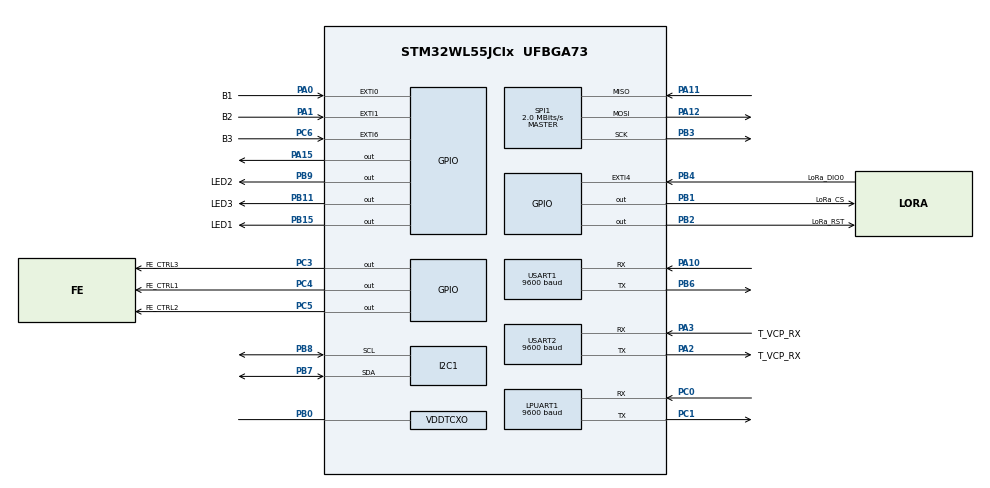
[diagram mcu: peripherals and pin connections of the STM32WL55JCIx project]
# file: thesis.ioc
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FATFS._FS_REENTRANT=0
FATFS._MAX_SS=4096
FATFS._USE_LFN=1
FREERTOS.HEAP_NUMBER=4
FREERTOS.Tasks01=PM,0,128,PM_Task,Default,NULL,Dynamic,NULL,NULL;CO,0,128,CO_Task,Default,NULL,Dynamic,NULL,NULL;GPS,0,128,GPS_Task,Default,NULL,Dynamic,NULL,NULL;SO,0,128,SO_Task,Default,NULL,Dynamic,NULL,NULL;COLLATE,-1,128,COLLATE_Task,Default,NULL,Dynamic,NULL,NULL;LORA,-1,128,LORA_Task,Default,NULL,Dynamic,NULL,NULL;SD,0,128,SD_Task,Default,NULL,Dynamic,NULL,NULL
FREERTOS.configENABLE_BACKWARD_COMPATIBILITY=0
FREERTOS.configTOTAL_HEAP_SIZE=6144
FREERTOS.configUSE_NEWLIB_REENTRANT=1
I2C1.Speed=100
LPUART1.BaudRate=9600
Mcu.Family=STM32WL
Mcu.Name=STM32WL55JCIx
Mcu.Package=UFBGA73
NVIC.LPUART1_IRQn=true\:5\:0\:false\:false\:true\:true\:true\:true\:true
NVIC.PriorityGroup=NVIC_PRIORITYGROUP_4
NVIC.SPI1_IRQn=true\:5\:0\:false\:false\:true\:true\:true\:true\:true
NVIC.TIM16_IRQn=true\:5\:0\:false\:false\:true\:true\:true\:true\:true
NVIC.TIM1_UP_IRQn=true\:15\:0\:false\:false\:true\:false\:false\:true\:true
NVIC.TimeBase=TIM1_UP_IRQn
NVIC.TimeBaseIP=TIM1
NVIC.USART1_IRQn=true\:5\:0\:false\:false\:true\:true\:true\:true\:true
OSC_IN.Mode=HSE-TCXO
OSC_IN.Signal=RCC_OSC_IN
PA0.GPIO_Label=B1
PA0.GPIO_ModeDefaultEXTI=GPIO_MODE_IT_FALLING
PA0.GPIO_PuPd=GPIO_PULLUP
PA0.Signal=GPXTI0
PA1.GPIO_Label=B2
PA1.GPIO_ModeDefaultEXTI=GPIO_MODE_IT_FALLING
PA1.GPIO_PuPd=GPIO_PULLUP
PA1.Signal=GPXTI1
PA10.Mode=Asynchronous
PA10.Signal=USART1_RX
PA11.Mode=Full_Duplex_Master
PA11.Signal=SPI1_MISO
PA12.Mode=Full_Duplex_Master
PA12.Signal=SPI1_MOSI
PA13.Mode=Serial_Wire
PA13.Signal=DEBUG_JTMS-SWDIO
PA14.Mode=Serial_Wire
PA14.Signal=DEBUG_JTCK-SWCLK
PA15.Signal=GPIO_Output
PA2.GPIO_Label=T_VCP_RX
PA2.Mode=Asynchronous
PA2.Signal=USART2_TX
PA3.GPIO_Label=T_VCP_RX
PA3.Mode=Asynchronous
PA3.Signal=USART2_RX
PB0-VDD_TCXO.Mode=HSE-TCXO
PB0-VDD_TCXO.Signal=VDDTCXO
PB1.GPIO_Label=LoRa_CS
PB1.PinState=GPIO_PIN_SET
PB1.Signal=GPIO_Output
PB11.GPIO_Label=LED3
PB11.GPIO_Speed=GPIO_SPEED_FREQ_HIGH
PB11.Signal=GPIO_Output
PB15.GPIO_Label=LED1
PB15.GPIO_Speed=GPIO_SPEED_FREQ_HIGH
PB15.Signal=GPIO_Output
PB2.GPIO_Label=LoRa_RST
PB2.PinState=GPIO_PIN_SET
PB2.Signal=GPIO_Output
PB3.Mode=Full_Duplex_Master
PB3.Signal=SPI1_SCK
PB4.GPIO_Label=LoRa_DIO0
PB4.Signal=GPXTI4
PB6.Mode=Asynchronous
PB6.Signal=USART1_TX
PB7.Mode=I2C
PB7.Signal=I2C1_SDA
PB8.Mode=I2C
PB8.Signal=I2C1_SCL
PB9.GPIO_FM9=__NULL
PB9.GPIO_Label=LED2
PB9.GPIO_Speed=GPIO_SPEED_FREQ_HIGH
PB9.Signal=GPIO_Output
PC0.Mode=Asynchronous
PC0.Signal=LPUART1_RX
PC1.Mode=Asynchronous
PC1.Signal=LPUART1_TX
PC14-OSC32_IN.Mode=LSE-External-Oscillator
PC14-OSC32_IN.Signal=RCC_OSC32_IN
PC15-OSC32_OUT.Mode=LSE-External-Oscillator
PC15-OSC32_OUT.Signal=RCC_OSC32_OUT
PC3.GPIO_Label=FE_CTRL3
PC3.GPIO_Speed=GPIO_SPEED_FREQ_VERY_HIGH
PC3.Signal=GPIO_Output
PC4.GPIO_Label=FE_CTRL1
PC4.GPIO_Speed=GPIO_SPEED_FREQ_VERY_HIGH
PC4.Signal=GPIO_Output
PC5.GPIO_Label=FE_CTRL2
PC5.GPIO_Speed=GPIO_SPEED_FREQ_VERY_HIGH
PC5.Signal=GPIO_Output
PC6.GPIO_Label=B3
PC6.GPIO_ModeDefaultEXTI=GPIO_MODE_IT_FALLING
PC6.GPIO_PuPd=GPIO_PULLUP
PC6.Signal=GPXTI6
ProjectManager.HeapSize=0x200
ProjectManager.StackSize=0x400
ProjectManager.TargetToolchain=STM32CubeIDE
RCC.APB2Freq_Value=4000000
RCC.APB2TimFreq_Value=4000000
RCC.HSE_VALUE=32000000
RCC.HSI_VALUE=16000000
RCC.LSE_VALUE=32768
RCC.VCOOutputFreq_Value=32000000
SPI1.BaudRatePrescaler=SPI_BAUDRATEPRESCALER_2
SPI1.CalculateBaudRate=2.0 MBits/s
SPI1.DataSize=SPI_DATASIZE_8BIT
SPI1.Direction=SPI_DIRECTION_2LINES
SPI1.Mode=SPI_MODE_MASTER
SPI1.NSSPMode=SPI_NSS_PULSE_ENABLE
SPI1.VirtualType=VM_MASTER
TIM16.Period=10000
TIM16.Prescaler=399
USART1.BaudRate=9600
USART1.VirtualMode-Asynchronous=VM_ASYNC
USART2.BaudRate=9600
USART2.VirtualMode-Asynchronous=VM_ASYNC
VP_FATFS_VS_Generic.Mode=User_defined
VP_FREERTOS_VS_CMSIS_V1.Mode=CMSIS_V1
VP_SYS_VS_tim1.Mode=TIM1
VP_TIM16_VS_ClockSourceINT.Mode=Enable_Timer
board=NUCLEO-WL55JC2

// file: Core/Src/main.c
/* USER CODE BEGIN Header */
/**
  ******************************************************************************
  * @file           : main.c
  * @brief          : Main program body
  ******************************************************************************
  * @attention
  *
  * Copyright (c) 2023 STMicroelectronics.
  * All rights reserved.
  *
  * This software is licensed under terms that can be found in the LICENSE file
  * in the root directory of this software component.
  * If no LICENSE file comes with this software, it is provided AS-IS.
  *
  ******************************************************************************
  */
/* USER CODE END Header */
#include "main.h"
#include "cmsis_os.h"
#include "app_fatfs.h"
#include "i2c.h"
#include "usart.h"
#include "spi.h"
#include "tim.h"
#include "gpio.h"

void SystemClock_Config(void);
void MX_FREERTOS_Init(void);

int main(void)
{

  /* MCU Configuration--------------------------------------------------------*/

  /* Reset of all peripherals, Initializes the Flash interface and the Systick. */
  HAL_Init();

  /* Configure the system clock */
  SystemClock_Config();

  /* Initialize all configured peripherals */
  MX_GPIO_Init();
  MX_TIM16_Init();
  MX_LPUART1_UART_Init();
  MX_I2C1_Init();
  MX_SPI1_Init();
  MX_FATFS_Init();
  MX_USART1_UART_Init();
  MX_USART2_UART_Init();
  /* USER CODE BEGIN 2 */
  /* if (HAL_TIM_Base_Start_IT(&htim16) != HAL_OK)
    {
      Error_Handler();
    }
  */
  /* USER CODE END 2 */

  /* Call init function for freertos objects (in freertos.c) */
  MX_FREERTOS_Init();

  /* Start scheduler */
  osKernelStart();

  /* We should never get here as control is now taken by the scheduler */
  /* Infinite loop */
  while (1)
  {

  }
}

void SystemClock_Config(void)
{
  RCC_OscInitTypeDef RCC_OscInitStruct = {0};
  RCC_ClkInitTypeDef RCC_ClkInitStruct = {0};

  /** Configure LSE Drive Capability
  */
  HAL_PWR_EnableBkUpAccess();
  __HAL_RCC_LSEDRIVE_CONFIG(RCC_LSEDRIVE_LOW);

  /** Configure the main internal regulator output voltage
  */
  __HAL_PWR_VOLTAGESCALING_CONFIG(PWR_REGULATOR_VOLTAGE_SCALE2);

  /** Initializes the CPU, AHB and APB buses clocks
  */
  RCC_OscInitStruct.OscillatorType = RCC_OSCILLATORTYPE_LSE|RCC_OSCILLATORTYPE_MSI;
  RCC_OscInitStruct.LSEState = RCC_LSE_ON;
  RCC_OscInitStruct.MSIState = RCC_MSI_ON;
  RCC_OscInitStruct.MSICalibrationValue = RCC_MSICALIBRATION_DEFAULT;
  RCC_OscInitStruct.MSIClockRange = RCC_MSIRANGE_6;
  RCC_OscInitStruct.PLL.PLLState = RCC_PLL_NONE;
  if (HAL_RCC_OscConfig(&RCC_OscInitStruct) != HAL_OK)
  {
    Error_Handler();
  }

  /** Configure the SYSCLKSource, HCLK, PCLK1 and PCLK2 clocks dividers
  */
  RCC_ClkInitStruct.ClockType = RCC_CLOCKTYPE_HCLK3|RCC_CLOCKTYPE_HCLK
                              |RCC_CLOCKTYPE_SYSCLK|RCC_CLOCKTYPE_PCLK1
                              |RCC_CLOCKTYPE_PCLK2;
  RCC_ClkInitStruct.SYSCLKSource = RCC_SYSCLKSOURCE_MSI;
  RCC_ClkInitStruct.AHBCLKDivider = RCC_SYSCLK_DIV1;
  RCC_ClkInitStruct.APB1CLKDivider = RCC_HCLK_DIV1;
  RCC_ClkInitStruct.APB2CLKDivider = RCC_HCLK_DIV1;
  RCC_ClkInitStruct.AHBCLK3Divider = RCC_SYSCLK_DIV1;

  if (HAL_RCC_ClockConfig(&RCC_ClkInitStruct, FLASH_LATENCY_0) != HAL_OK)
  {
    Error_Handler();
  }
}

/* USER CODE BEGIN 4 */

#include <stdio.h>
#include <string.h>
#ifdef __GNUC__
  /* With GCC, small printf (option LD Linker->Libraries->Small printf
     set to 'Yes') calls __io_putchar() */
int __io_putchar(int ch)
#else
int fputc(int ch, FILE *f)
#endif /* __GNUC__ */
{
  /* Place your implementation of fputc here */
  /* e.g. write a character to the UART2 and Loop until the end of transmission */
  HAL_UART_Transmit(&huart2, (uint8_t *)&ch, 1, HAL_MAX_DELAY);
  return ch;
}
/* USER CODE END 4 */

void HAL_TIM_PeriodElapsedCallback(TIM_HandleTypeDef *htim)
{
  if (htim->Instance == TIM1) {
    HAL_IncTick();
  }
}

void Error_Handler(void)
{
  __disable_irq();
  while (1)
  {
  }
}

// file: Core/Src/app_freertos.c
/* USER CODE BEGIN Header */
/**
 ******************************************************************************
 * File Name          : app_freertos.c
 * Description        : Code for freertos applications
 ******************************************************************************
 * @attention
 *
 * Copyright (c) 2023 STMicroelectronics.
 * All rights reserved.
 *
 * This software is licensed under terms that can be found in the LICENSE file
 * in the root directory of this software component.
 * If no LICENSE file comes with this software, it is provided AS-IS.
 *
 ******************************************************************************
 */
/* USER CODE END Header */

#include "FreeRTOS.h"
#include "task.h"
#include "main.h"
#include "cmsis_os.h"

/* USER CODE BEGIN Includes */
#include <stdio.h>
#include "../../pm2.5/sps30.h"
#include "../../co2/scd30.h"
#include "../../gps/gps.h"
#include "../../so2/so2.h"
#include "../../lora/lora.h"
#include "app_fatfs.h"

/* USER CODE END Includes */

/* USER CODE BEGIN Variables */
typedef struct IP_TASK_COMMANDS
{
	uint8_t from_Task; /*0 - GPS; 1 - PM; 2 - CO; 3 - SO */
	void *pvData; /* Holds or points to any data associated with the event. */

} xIPStackEvent_t;

typedef struct DATA
{
	GPS_t GPS_Data;
	SO_t SO_Data;
	struct sps30_measurement PM_Data;
	CO_t CO_Data;
} CollatedData;

QueueHandle_t xQueueCollate;
QueueHandle_t xQueueSD;
QueueHandle_t xQueueLORA;
/* USER CODE END Variables */
osThreadId PMHandle;
osThreadId COHandle;
osThreadId GPSHandle;
osThreadId SOHandle;
osThreadId COLLATEHandle;
osThreadId LORAHandle;
osThreadId SDHandle;

void PM_Task(void const * argument);
void CO_Task(void const * argument);
void GPS_Task(void const * argument);
void SO_Task(void const * argument);
void COLLATE_Task(void const * argument);
void LORA_Task(void const * argument);
void SD_Task(void const * argument);

void MX_FREERTOS_Init(void); /* (MISRA C 2004 rule 8.1) */

/* GetIdleTaskMemory prototype (linked to static allocation support) */
void vApplicationGetIdleTaskMemory( StaticTask_t **ppxIdleTaskTCBBuffer, StackType_t **ppxIdleTaskStackBuffer, uint32_t *pulIdleTaskStackSize );

/* USER CODE BEGIN GET_IDLE_TASK_MEMORY */
static StaticTask_t xIdleTaskTCBBuffer;
static StackType_t xIdleStack[configMINIMAL_STACK_SIZE];

void vApplicationGetIdleTaskMemory( StaticTask_t **ppxIdleTaskTCBBuffer, StackType_t **ppxIdleTaskStackBuffer, uint32_t *pulIdleTaskStackSize )
{
	*ppxIdleTaskTCBBuffer = &xIdleTaskTCBBuffer;
	*ppxIdleTaskStackBuffer = &xIdleStack[0];
	*pulIdleTaskStackSize = configMINIMAL_STACK_SIZE;
	/* place for user code */
}
/* USER CODE END GET_IDLE_TASK_MEMORY */

void MX_FREERTOS_Init(void) {

	/* USER CODE BEGIN RTOS_QUEUES */
	/* add queues, ... */
	xQueueCollate = xQueueCreate( 4, sizeof( xIPStackEvent_t ) );
	xQueueSD = xQueueCreate( 10, sizeof( CollatedData ) );
	xQueueLORA = xQueueCreate( 10, sizeof( CollatedData ) );
	/* USER CODE END RTOS_QUEUES */

	/* Create the thread(s) */
	/* definition and creation of PM */
	osThreadDef(PM, PM_Task, osPriorityNormal, 0, 128);
	PMHandle = osThreadCreate(osThread(PM), NULL);

	/* definition and creation of CO */
	osThreadDef(CO, CO_Task, osPriorityNormal, 0, 128);
	COHandle = osThreadCreate(osThread(CO), NULL);

	/* definition and creation of GPS */
	osThreadDef(GPS, GPS_Task, osPriorityNormal, 0, 128);
	GPSHandle = osThreadCreate(osThread(GPS), NULL);

	/* definition and creation of SO */
	osThreadDef(SO, SO_Task, osPriorityNormal, 0, 128);
	SOHandle = osThreadCreate(osThread(SO), NULL);

	/* definition and creation of COLLATE */
	osThreadDef(COLLATE, COLLATE_Task, osPriorityBelowNormal, 0, 128);
	COLLATEHandle = osThreadCreate(osThread(COLLATE), NULL);

	/* definition and creation of LORA */
	osThreadDef(LORA, LORA_Task, osPriorityBelowNormal, 0, 128);
	LORAHandle = osThreadCreate(osThread(LORA), NULL);

	/* definition and creation of SD */
	osThreadDef(SD, SD_Task, osPriorityNormal, 0, 128);
	SDHandle = osThreadCreate(osThread(SD), NULL);

}

void PM_Task(void const * argument)
{
	/* USER CODE BEGIN PM_Task */
	/* Infinite loop */
	struct sps30_measurement m;
	int16_t ret;

	void* pointer = &m;
	xIPStackEvent_t toQueue = { 1, pointer };

	/* Busy loop for initialization, because the main loop does not work without
	 * a sensor.
	 */
	while (sps30_probe() != 0) {
		printf("SPS sensor probing failed\n");
		sensirion_sleep_usec(1000000); /* wait 1s */
	}
	printf("SPS sensor probing successful\n");

	uint8_t fw_major;
	uint8_t fw_minor;
	ret = sps30_read_firmware_version(&fw_major, &fw_minor);
	if (ret) {
		printf("error reading firmware version\n");
	} else {
		printf("FW: %u.%u\n", fw_major, fw_minor);
	}

	char serial_number[SPS30_MAX_SERIAL_LEN];
	ret = sps30_get_serial(serial_number);
	if (ret) {
		printf("error reading serial number\n");
	} else {
		printf("Serial Number: %s\n", serial_number);
	}

	ret = sps30_start_measurement();
	if (ret < 0)
		printf("error starting measurement\n");
	printf("measurements started\n");
	sensirion_sleep_usec(SPS30_MEASUREMENT_DURATION_USEC); /* wait 1s */

	for(;;)
	{
		ret = sps30_read_measurement(&m);
		if (ret < 0) {
			printf("error reading measurement\n");

		} else {
			printf("measured values:\n"
					"\t%0.2f pm1.0\n"
					"\t%0.2f pm2.5\n"
					"\t%0.2f pm4.0\n"
					"\t%0.2f pm10.0\n"
					"\t%0.2f nc0.5\n"
					"\t%0.2f nc1.0\n"
					"\t%0.2f nc2.5\n"
					"\t%0.2f nc4.5\n"
					"\t%0.2f nc10.0\n"
					"\t%0.2f typical particle size\n\n",
					m.mc_1p0, m.mc_2p5, m.mc_4p0, m.mc_10p0, m.nc_0p5, m.nc_1p0,
					m.nc_2p5, m.nc_4p0, m.nc_10p0, m.typical_particle_size);
			xQueueSend( xQueueCollate, ( void* ) &toQueue, ( TickType_t ) 10);
			vTaskSuspend( NULL );
		}
	}
	/* USER CODE END PM_Task */
}

void CO_Task(void const * argument)
{
	/* USER CODE BEGIN CO_Task */
	int16_t err;
	uint16_t interval_in_seconds = 2;
	CO_t data;
	void* pointer = &data;
	xIPStackEvent_t toQueue = { 2, pointer };
	/* Busy loop for initialization, because the main loop does not work without
	 * a sensor.
	 */
	while (scd30_probe() != NO_ERROR) {
		printf("SCD30 sensor probing failed\n");
		sensirion_sleep_usec(1000000u);
	}
	printf("SCD30 sensor probing successful\n");

	scd30_set_measurement_interval(interval_in_seconds);
	sensirion_sleep_usec(20000u);
	scd30_start_periodic_measurement(0);
	/* Infinite loop */
	for(;;)
	{
		uint16_t data_ready = 0;

		/* Poll data_ready flag until data is available. Allow 20% more than
		 * the measurement interval to account for clock imprecision of the
		 * sensor.
		 */
		err = scd30_get_data_ready(&data_ready);
		if (err != NO_ERROR) {
			printf("Error reading data_ready flag: %i\n", err);
		}

		/* Measure co2, temperature and relative humidity and store into
		 * variables.
		 */
		err =
				scd30_read_measurement(&data.co2_ppm, &data.temperature, &data.relative_humidity);
		if (err != NO_ERROR) {
			printf("error reading measurement\n");

		} else {
			printf("measured co2 concentration: %0.2f ppm, "
					"measured temperature: %0.2f degreeCelsius, "
					"measured humidity: %0.2f %%RH\n",
					data.co2_ppm, data.temperature, data.relative_humidity);
			xQueueSend( xQueueCollate, ( void* ) &toQueue, ( TickType_t ) 10);
			vTaskSuspend( NULL );
		}
	}
	/* USER CODE END CO_Task */
}

void GPS_Task(void const * argument)
{
	/* USER CODE BEGIN GPS_Task */
	void* pointer = &GPS;
	xIPStackEvent_t toQueue = { 0, pointer };
	const TickType_t xMaxBlockTime = pdMS_TO_TICKS( 200 );
	GPS_Init();
	ulTaskNotifyTake( pdTRUE,
			xMaxBlockTime );
	/* Infinite loop */
	for(;;)
	{
		if (rx_data != '\n' && rx_index < sizeof(rx_buffer)) {
			rx_buffer[rx_index++] = rx_data;
			GPS_Init();
			ulTaskNotifyTake( pdTRUE,
					xMaxBlockTime );
		} else {
			GPS_print((char*)rx_buffer);
			if(GPS_validate((char*) rx_buffer))
				GPS_parse((char*) rx_buffer);
			rx_index = 0;
			memset(rx_buffer, 0, sizeof(rx_buffer));
			xQueueSend( xQueueCollate, ( void* ) &toQueue, ( TickType_t ) 10);
			vTaskSuspend( NULL );
			GPS_Init();
			ulTaskNotifyTake( pdTRUE,
					xMaxBlockTime );
		}
	}
	/* USER CODE END GPS_Task */
}

void SO_Task(void const * argument)
{
	/* USER CODE BEGIN SO_Task */
	SO_t data;
	void* pointer = &data;
	xIPStackEvent_t toQueue = { 3, pointer };
	const TickType_t xMaxBlockTime = pdMS_TO_TICKS( 200 );
	/* Infinite loop */
	for(;;)
	{
		SO2_GET_DATA();
		ulTaskNotifyTake( pdTRUE,
				xMaxBlockTime );
		for(int i=0; i<13; i++) {
			printf("%d/n", Rx_data[i]);
		}
		SO2_PARSE(pointer);
		xQueueSend( xQueueCollate, ( void* ) &toQueue, ( TickType_t ) 10);
		vTaskSuspend( NULL );
	}
	/* USER CODE END SO_Task */
}

void COLLATE_Task(void const * argument)
{
	/* USER CODE BEGIN COLLATE_Task */
	uint8_t counter = 0;
	CollatedData collatedData;
	xIPStackEvent_t xReceivedEvent;

	/* Infinite loop */
	for(;;)
	{
		xQueueReceive( xQueueCollate, &xReceivedEvent, portMAX_DELAY );
		switch( xReceivedEvent.from_Task )
		{
		case 0:
			collatedData.GPS_Data = *(GPS_t*)xReceivedEvent.pvData;
			break;
		case 1:
			collatedData.PM_Data = *(struct sps30_measurement*)xReceivedEvent.pvData;
			break;
		case 2:
			collatedData.CO_Data = *(CO_t*)xReceivedEvent.pvData;
			break;
		case 3:
			collatedData.SO_Data = *(SO_t*)xReceivedEvent.pvData;
			break;
		}
		counter++;
		if (counter == 4)
		{
			xQueueSend( xQueueSD, ( void* ) &collatedData, ( TickType_t ) 10);
			xQueueSend( xQueueLORA, ( void* ) &collatedData, ( TickType_t ) 10);
			counter = 0;
			osDelay(2000);
			vTaskResume( PMHandle );
			vTaskResume( COHandle );
			vTaskResume( GPSHandle );
			vTaskResume( SOHandle );
		}
		/* USER CODE END COLLATE_Task */
	}
}
void LORA_Task(void const * argument)
{
	/* USER CODE BEGIN LORA_Task */
	LoRa myLoRa;
	myLoRa = newLoRa();
	myLoRa.CS_port         = LoRa_CS_GPIO_Port;
	myLoRa.CS_pin          = LoRa_CS_Pin;
	myLoRa.reset_port      = LoRa_RST_GPIO_Port;
	myLoRa.reset_pin       = LoRa_RST_Pin;
	myLoRa.DIO0_port       = LoRa_DIO0_GPIO_Port;
	myLoRa.DIO0_pin        = LoRa_DIO0_Pin;
	myLoRa.hSPIx           = &hspi1;

	myLoRa.frequency       = 868;

	uint16_t LoRa_status = LoRa_init(&myLoRa);
	CollatedData xReceivedEvent;
	/* Infinite loop */
	for(;;)
	{
		xQueueReceive( xQueueLORA, &xReceivedEvent, portMAX_DELAY );
		//FLATTEN
		void* vptr_test = &xReceivedEvent;
		uint8_t buffer[sizeof(xReceivedEvent)];
		memcpy(buffer, vptr_test, sizeof(xReceivedEvent));
		if (LoRa_status==LORA_OK)
		{
			LoRa_transmit(&myLoRa, buffer, sizeof(buffer), 100);
		}
	}
	/* USER CODE END LORA_Task */
}

void SD_Task(void const * argument)
{
	/* USER CODE BEGIN SD_Task */
	CollatedData xReceivedEvent;

	FATFS       FatFs;                //FatFs handle
	FIL         fil;                  //File handle
	FRESULT     fres;                 //Result after operations

	fres = f_mount(&FatFs, "", 1);    //1=mount now
	if (fres != FR_OK)
	{
		printf("No SD Card found : (%i)\r\n", fres);
		vTaskSuspend( NULL );
	}
	printf("SD Card Mounted Successfully!!!\r\n");
	FATFS *pfs;
	DWORD fre_clust;
	uint32_t totalSpace, freeSpace;

	f_getfree("", &fre_clust, &pfs);
	totalSpace = (uint32_t)((pfs->n_fatent - 2) * pfs->csize * 0.5);
	freeSpace = (uint32_t)(fre_clust * pfs->csize * 0.5);

	printf("TotalSpace : %lu bytes, FreeSpace = %lu bytes\n", totalSpace, freeSpace);
	fres = f_open(&fil, "data.bin", FA_WRITE | FA_READ | FA_CREATE_ALWAYS);
	if(fres != FR_OK)
	{
		printf("SD CARD OK");
	}
	/* Infinite loop */
	for(;;)
	{
		xQueueReceive( xQueueLORA, &xReceivedEvent, portMAX_DELAY );
		void* vptr_test = &xReceivedEvent;
		uint8_t buffer[sizeof(xReceivedEvent)];
		memcpy(buffer, vptr_test, sizeof(xReceivedEvent));
		f_write(&fil, buffer, sizeof(buffer), NULL);
	}
	/* USER CODE END SD_Task */
}

/* USER CODE BEGIN Application */

void GPS_UART_CallBack(){
	BaseType_t xHigherPriorityTaskWoken = pdFALSE;
	vTaskNotifyGiveFromISR( GPSHandle,
			&xHigherPriorityTaskWoken );
	portYIELD_FROM_ISR( xHigherPriorityTaskWoken );
}
void SO2_UART_CallBack(void)
{
	BaseType_t xHigherPriorityTaskWoken = pdFALSE;
	vTaskNotifyGiveFromISR( SOHandle,
			&xHigherPriorityTaskWoken );
	portYIELD_FROM_ISR( xHigherPriorityTaskWoken );
}
/* USER CODE END Application */
